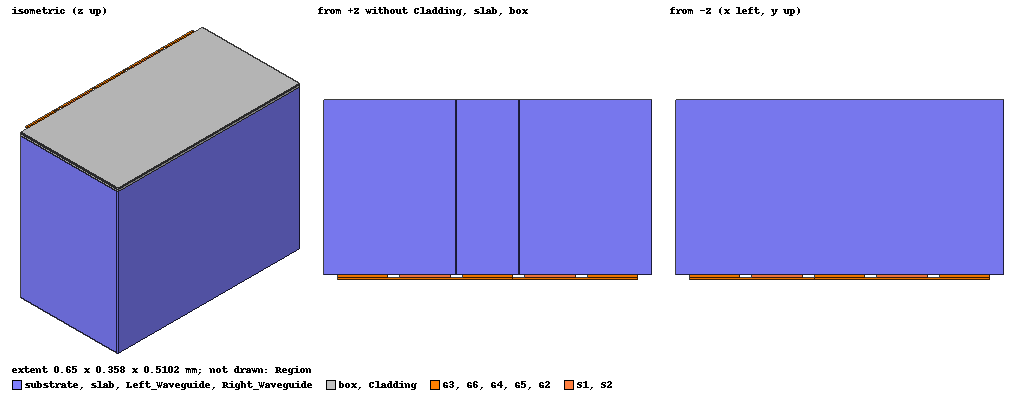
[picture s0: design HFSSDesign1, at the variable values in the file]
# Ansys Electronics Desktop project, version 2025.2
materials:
  vacuum: permittivity=1
  silicon_dioxide: permittivity=4 dielectric_loss_tangent=0.006
  LN: permittivity{anisotropic component1=28 component2=44.3 component3=44.3} dielectric_loss_tangent=0.008 delta_H_freq=100GHz
  gold: permeability=0.99996 conductivity=41000000
  air: permittivity=1.0006 permeability=1.0000004
  silicon: permittivity=11.9 dielectric_loss_tangent=0.013
  quartz_sub: permittivity=3.78 dielectric_loss_tangent=0.0001
  LT: permittivity{anisotropic component1=43 component2=41 component3=41} dielectric_loss_tangent=0.0006 delta_H_freq=10GHz

design HFSSDesign1 (HFSS, HFSS Terminal Network, model units mm)
options: Allow_Material_Override
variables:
  W = 650um  # all_width
  H_box = 7um  # thickness_SiO_box
  L = 348um  # estimated_all_length
  H_slab = 0.25um  # thickness_slab_waveguide
  H_sub = 500um  # thickness_substrate
  W_S = 100um  # width_of_Signal_electrode
  G = 5um
  W_WG = 1.3um  # width_Optical_waceguide
  H_etch = 0.25um  # thickness_opt_wg_rib
  H_clad = 1um  # thickness_cladding_between_wg_and_electrode
  theta_etch = 67deg  # angle_opt_waveguide
  W_G = 100um  # width_Ground_eletrode
  Li = 696um  # all_length
  H_Au = 1um  # thickness_eletrode
  L_lump = 5um
  period = 45um  # period_of_T_seg
  W_T = 2um  # width_T_seg_ribbon
  L_T = 40um  # length_T_seg_ribbon
  W_rail = 5um
  L_rail = 10um
  Gap = 10um
  N_ele = 10
  H_up_cald = 2um  # thickness_up_cladding_on_the_wg
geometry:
  box [silicon_dioxide] = box(corner=(-W/2, 0um, -H_box), size=(W, L, H_box))
  slab [LT] = box(corner=(-W/2, 0um, 0um), size=(W, L, H_slab))
  substrate [silicon] = box(corner=(-W/2, 0um, -H_box-H_sub), size=(W, L, H_sub))
  Left_Waveguide [LT] = polyline(y=0um, xz: (-W_S/2-W_T-W_rail-Gap/2-W_WG/2, H_slab+H_etch) (-W_S/2-W_T-W_rail-Gap/2+W_WG/2, H_slab+H_etch) (-W_S/2-W_T-W_rail-Gap/2+W_WG/2+(H_etch/tan(theta_etch/180deg*pi)), H_slab) (-W_S/2-W_T-W_rail-Gap/2-W_WG/2-(H_etch/tan(theta_etch/180deg*pi)), H_slab) (-W_S/2-W_T-W_rail-Gap/2-W_WG/2, H_slab+H_etch), closed, covered)
  Left_Waveguide.thicken(L)
  Right_Waveguide [LT] = polyline(y=0um, xz: (W_S/2+W_T+W_rail+Gap/2-W_WG/2, H_slab+H_etch) (W_S/2+W_T+W_rail+Gap/2+W_WG/2, H_slab+H_etch) (W_S/2+W_T+W_rail+Gap/2+W_WG/2+(H_etch/tan(theta_etch/180deg*pi)), H_slab) (W_S/2+W_T+W_rail+Gap/2-W_WG/2-(H_etch/tan(theta_etch/180deg*pi)), H_slab) (W_S/2+W_T+W_rail+Gap/2-W_WG/2, H_slab+H_etch), closed, covered)
  Right_Waveguide.thicken(L)
  Cladding [silicon_dioxide] = box(corner=(-W/2, 0um, H_slab), size=(W, L, H_clad+H_up_cald))
  Left_Waveguide_1 = Left_Waveguide.copy()
  Right_Waveguide_1 = Right_Waveguide.copy()
  Cladding.subtract(Left_Waveguide_1, Right_Waveguide_1)
  Region [air] = region(percentage_offset: +X=10, -X=10, +Y=5, -Y=5, +Z=200, -Z=200)
  S1 = rectangle(corner=(-W_S/2+124.0um, -L_lump, H_slab+H_clad+H_Au), x_size=W_S, y_size=L_lump)
  S2 = rectangle(corner=(-W_S/2-124.0um, -L_lump, H_slab+H_clad+H_Au), x_size=W_S, y_size=L_lump)
  G1 = rectangle(corner=(-W_G/2, -L_lump, H_slab+H_clad+H_Au), x_size=W_G, y_size=L_lump)
  G2 = rectangle(corner=(-W_G/2+248.0um, -L_lump, H_slab+H_clad+H_Au), x_size=W_G, y_size=L_lump)
  G3 = rectangle(corner=(-W_G/2, -2*L_lump, H_slab+H_clad+H_Au), x_size=W_G*2+W_S+2*(Gap+2*(W_T+W_rail)), y_size=L_lump)
  G4 = rectangle(corner=(-W_G/2, -L_lump, H_slab+H_clad+H_Au), x_size=W_G, y_size=L_lump)
  G5 = rectangle(corner=(-W_G/2-248.0um, -L_lump, H_slab+H_clad+H_Au), x_size=W_G, y_size=L_lump)
  G6 = rectangle(corner=(-W_G/2-248.0um, -2*L_lump, H_slab+H_clad+H_Au), x_size=W_G*2+W_S+2*(Gap+2*(W_T+W_rail)), y_size=L_lump)
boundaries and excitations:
  PerfE1: Perfect E Objects=[G1, G2, G3]
  PerfE2: Perfect E Objects=[G4, G5, G6]
  Rad1: Radiation Objects=Region
  1: Lumped Port Faces=S1.face LumpedPortType=Terminal Impedance=50ohm
  2: Lumped Port Faces=S2.face LumpedPortType=Terminal Impedance=50ohm
  reference conductors: G6
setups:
  Setup1: HfssDriven Frequency=5GHz MaxDeltaS=0.02 MaximumPasses=50 MinimumPasses=1 MinimumConvergedPasses=1 PercentRefinement=30 BasisOrder=1 PortAccuracy=2 DrivenSolverType="Direct Solver"
    sweep Freq_Sweep: 0.1GHz to 100GHz step 1GHz; Type=Interpolating InterpTolerance=0.5 InterpMaxSolns=250 PassivityErrorTolerance=0.0001
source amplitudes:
  1:1: 1 0
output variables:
  Nm = -cang_rad(St(S2_T1,S1_T1))*c0/2/pi/Li/Freq
  a = -dB(St(S2_T1,S1_T1))/Li/8.686/100
  b = 2*pi*Freq*(Nm-2.264)/c0
  A_m = ((1 + St(S1_T1,S1_T1))*(1 - St(S2_T1,S2_T1)) + St(S1_T1,S2_T1)*St(S2_T1,S1_T1)) / (2*St(S2_T1,S1_T1))
  B_m = Zot(S1_T1,S1_T1)*((1 + St(S1_T1,S1_T1))*(1 + St(S2_T1,S2_T1)) - St(S1_T1,S2_T1)*St(S2_T1,S1_T1)) / (2*St(S2_T1,S1_T1))
  C_m = (1/Zot(S1_T1,S1_T1)) * ((1 - St(S1_T1,S1_T1))*(1 - St(S2_T1,S2_T1)) - St(S1_T1,S2_T1)*St(S2_T1,S1_T1)) / (2*St(S2_T1,S1_T1))
  D_m = ((1 - St(S1_T1,S1_T1))*(1 + St(S2_T1,S2_T1)) + St(S1_T1,S2_T1)*St(S2_T1,S1_T1)) / (2*St(S2_T1,S1_T1))
  Z_m = sqrt(B_m/C_m)
  beta_S = -cang_rad(St(S2_T1,S1_T1))/Li
  beta_ab = acosh(A_m)/Li
  beta_bc = asinh((B_m*C_m)^0.5)/Li
  VSWR_cmp = (1+St(S1_T1,S1_T1))/(1-St(S1_T1,S1_T1))
  tanhbetaL = sqrt(B_m*C_m/(A_m*D_m))
  Zcc = 50*(cmplx(0, 1)*VSWR_cmp*tan(-cang_rad(St(S2_T1,S1_T1)))-1)/(cmplx(0, 1)*tan(-cang_rad(St(S2_T1,S1_T1)))-VSWR_cmp)
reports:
  S21: dB(St(S2_T1,S1_T1)) vs Freq on Setup1 : Freq_Sweep [H_slab=all]; markers m1 at 0.1GHz, m2 at 100.1GHz
  Nm: Nm vs Freq on Setup1 : Freq_Sweep; markers m1 at 100GHz
  a: a vs Freq on Setup1 : Freq_Sweep
  Output Variables Plot 3: b vs Freq on Setup1 : Freq_Sweep
  S11: dB(St(S1_T1,S1_T1)) vs Freq on Setup1 : Freq_Sweep
  Terminal TDR Impedance Plot 1: TDRZt(S1_T1) vs Time on Setup1 : Freq_Sweep
  beta_check: beta_S, im(beta_ab), im(beta_bc) vs Freq on Setup1 : Freq_Sweep
  Zc_check: mag(Z_m) vs Freq on Setup1 : Freq_Sweep
  GroupDelay: GroupDelay(S2_T1,S1_T1) vs Freq on Setup1 : Freq_Sweep
